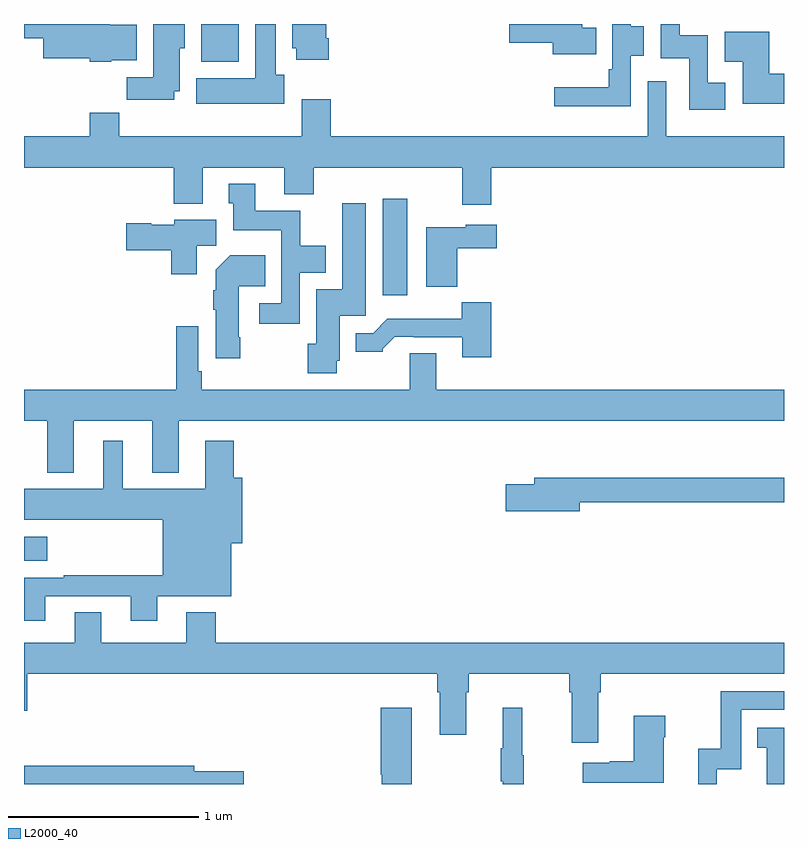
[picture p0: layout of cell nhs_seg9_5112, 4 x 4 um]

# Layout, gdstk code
import gdstk
lib = gdstk.Library(unit=1e-6, precision=1e-09)
def R(c, l, rs):  # rectangles x0, y0, x1, y1
    for r in rs: c.add(gdstk.rectangle(r[:2], r[2:], *l))
def P(c, l, *ps):  # polygons
    for p in ps: c.add(gdstk.Polygon(p, *l))
L2000_40 = (2000, 40)

nhs_seg9_5112 = lib.new_cell('nhs_seg9_5112')
R(nhs_seg9_5112, L2000_40, [(407,1203.674,407.122,1203.802), (408.887,1205.073,409.018,1205.581), (407.933,1206.302,408.13,1206.5)])
P(nhs_seg9_5112, L2000_40, [(407.46,1206.308),(407.593,1206.308),(407.593,1206.496),(407.452,1206.496),(407.452,1206.5),(407,1206.5),(407,1206.424),(407.102,1206.424),(407.102,1206.32),(407.346,1206.32),(407.346,1206.302),(407.46,1206.302)],
  [(407.791,1206.146),(407.821,1206.146),(407.821,1206.372),(407.845,1206.372),(407.845,1206.5),(407.681,1206.5),(407.681,1206.22),(407.542,1206.22),(407.542,1206.102),(407.791,1206.102)],
  [(410.012,1206.481),(409.939,1206.481),(409.939,1206.5),(409.554,1206.5),(409.554,1206.401),(409.784,1206.401),(409.784,1206.341),(410.012,1206.341)],
  [(408.605,1206.424),(408.592,1206.424),(408.592,1206.5),(408.413,1206.5),(408.413,1206.372),(408.434,1206.372),(408.434,1206.312),(408.605,1206.312)],
  [(410.193,1206.334),(410.263,1206.334),(410.263,1206.489),(410.193,1206.489),(410.193,1206.5),(410.097,1206.5),(410.097,1206.262),(410.077,1206.262),(410.077,1206.166),(409.791,1206.166),(409.791,1206.068),(410.193,1206.068)],
  [(410.692,1206.19),(410.598,1206.19),(410.598,1206.442),(410.451,1206.442),(410.451,1206.5),(410.352,1206.5),(410.352,1206.32),(410.502,1206.32),(410.502,1206.05),(410.692,1206.05)],
  [(408.37,1206.234),(408.325,1206.234),(408.325,1206.5),(408.218,1206.5),(408.218,1206.214),(407.906,1206.214),(407.906,1206.08),(408.37,1206.08)],
  [(411,1206.238),(410.923,1206.238),(410.923,1206.46),(410.687,1206.46),(410.687,1206.302),(410.783,1206.302),(410.783,1206.08),(411,1206.08)],
  [(409.46,1205.744),(411,1205.744),(411,1205.908),(410.379,1205.908),(410.379,1206.199),(410.283,1206.199),(410.283,1205.908),(408.614,1205.908),(408.614,1206.103),(408.461,1206.103),(408.461,1205.908),(407.501,1205.908),(407.501,1206.032),(407.345,1206.032),(407.345,1205.908),(407,1205.908),(407,1205.744),(407.789,1205.744),(407.789,1205.555),(407.941,1205.555),(407.941,1205.744),(408.371,1205.744),(408.371,1205.603),(408.524,1205.603),(408.524,1205.744),(409.307,1205.744),(409.307,1205.55),(409.46,1205.55)],
  [(408.45,1205.192),(408.589,1205.192),(408.589,1205.332),(408.453,1205.332),(408.453,1205.518),(408.217,1205.518),(408.217,1205.659),(408.077,1205.659),(408.077,1205.556),(408.101,1205.556),(408.101,1205.414),(408.354,1205.414),(408.354,1205.031),(408.237,1205.031),(408.237,1204.923),(408.45,1204.923)],
  [(408.645,1204.728),(408.661,1204.728),(408.661,1204.965),(408.799,1204.965),(408.799,1205.557),(408.674,1205.557),(408.674,1205.104),(408.539,1205.104),(408.539,1204.818),(408.493,1204.818),(408.493,1204.662),(408.645,1204.662)],
  [(407.908,1205.332),(408.013,1205.332),(408.013,1205.47),(407.79,1205.47),(407.79,1205.443),(407.67,1205.443),(407.67,1205.451),(407.538,1205.451),(407.538,1205.309),(407.774,1205.309),(407.774,1205.184),(407.908,1205.184)],
  [(409.28,1205.321),(409.489,1205.321),(409.489,1205.443),(409.326,1205.443),(409.326,1205.431),(409.118,1205.431),(409.118,1205.117),(409.28,1205.117)],
  [(408.138,1204.852),(408.13,1204.852),(408.13,1205.12),(408.269,1205.12),(408.269,1205.284),(408.086,1205.284),(408.008,1205.206),(408.008,1205.099),(407.996,1205.099),(407.996,1204.996),(408.008,1204.996),(408.008,1204.74),(408.138,1204.74)],
  [(409.46,1205.035),(409.305,1205.035),(409.305,1204.948),(408.913,1204.948),(408.837,1204.872),(408.746,1204.872),(408.746,1204.775),(408.888,1204.775),(408.888,1204.79),(408.952,1204.854),(409.051,1204.854),(409.051,1204.851),(409.307,1204.851),(409.307,1204.746),(409.46,1204.746)],
  [(407.263,1204.412),(407.675,1204.412),(407.675,1204.139),(407.815,1204.139),(407.815,1204.412),(411,1204.412),(411,1204.576),(409.171,1204.576),(409.171,1204.766),(409.031,1204.766),(409.031,1204.576),(407.936,1204.576),(407.936,1204.672),(407.916,1204.672),(407.916,1204.909),(407.8,1204.909),(407.8,1204.576),(407,1204.576),(407,1204.412),(407.123,1204.412),(407.123,1204.139),(407.263,1204.139)],
  [(407.113,1203.489),(407.561,1203.489),(407.561,1203.36),(407.701,1203.36),(407.701,1203.488),(408.091,1203.488),(408.091,1203.767),(408.148,1203.767),(408.148,1204.111),(408.104,1204.111),(408.104,1204.306),(407.954,1204.306),(407.954,1204.054),(407.521,1204.054),(407.521,1204.306),(407.417,1204.306),(407.417,1204.054),(407,1204.054),(407,1203.89),(407.729,1203.89),(407.729,1203.598),(407.209,1203.598),(407.209,1203.585),(407,1203.585),(407,1203.36),(407.113,1203.36)],
  [(409.924,1203.982),(411,1203.982),(411,1204.111),(409.685,1204.111),(409.685,1204.077),(409.536,1204.077),(409.536,1203.935),(409.924,1203.935)],
  [(410.023,1202.984),(410.036,1202.984),(410.036,1203.08),(411,1203.08),(411,1203.244),(408.008,1203.244),(408.008,1203.403),(407.855,1203.403),(407.855,1203.244),(407.407,1203.244),(407.407,1203.404),(407.267,1203.404),(407.267,1203.244),(407,1203.244),(407,1202.886),(407.018,1202.886),(407.018,1203.08),(409.175,1203.08),(409.175,1202.984),(409.187,1202.984),(409.187,1202.76),(409.327,1202.76),(409.327,1202.984),(409.34,1202.984),(409.34,1203.08),(409.871,1203.08),(409.871,1202.984),(409.883,1202.984),(409.883,1202.718),(410.023,1202.718)],
  [(410.646,1202.577),(410.775,1202.577),(410.775,1202.892),(411,1202.892),(411,1202.988),(410.667,1202.988),(410.667,1202.686),(410.549,1202.686),(410.549,1202.5),(410.646,1202.5)],
  [(409.042,1202.902),(408.878,1202.902),(408.878,1202.55),(408.884,1202.55),(408.884,1202.5),(409.042,1202.5)],
  [(409.63,1202.652),(409.622,1202.652),(409.622,1202.902),(409.52,1202.902),(409.52,1202.689),(409.509,1202.689),(409.509,1202.515),(409.52,1202.515),(409.52,1202.5),(409.63,1202.5)],
  [(410.368,1202.747),(410.376,1202.747),(410.376,1202.86),(410.21,1202.86),(410.21,1202.621),(410.084,1202.621),(410.084,1202.611),(409.941,1202.611),(409.941,1202.507),(410.368,1202.507)],
  [(411,1202.797),(410.86,1202.797),(410.86,1202.691),(410.909,1202.691),(410.909,1202.5),(411,1202.5)],
  [(408.157,1202.567),(407.896,1202.567),(407.896,1202.596),(407,1202.596),(407,1202.5),(408.157,1202.5)])

lib.write_gds('nhs_seg9_5112.gds')
